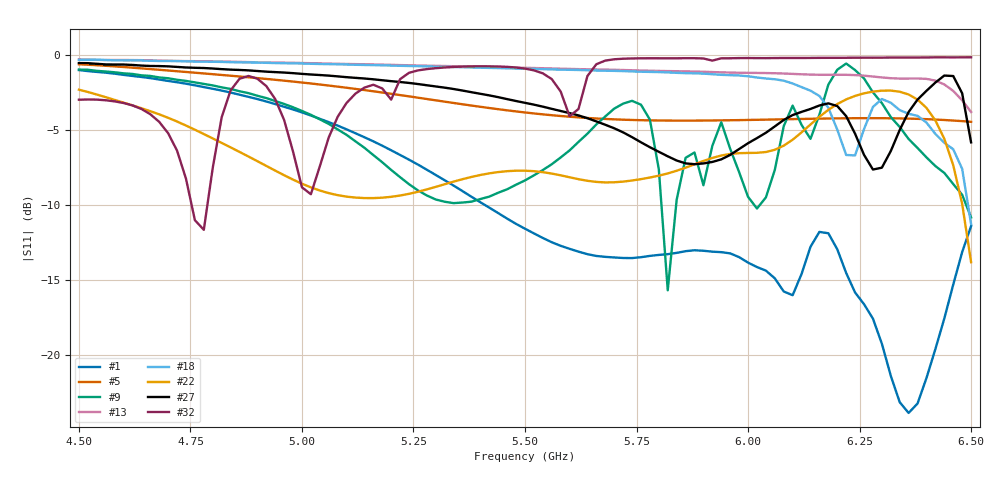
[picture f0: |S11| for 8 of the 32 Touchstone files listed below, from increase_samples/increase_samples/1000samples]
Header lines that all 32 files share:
! TOUCHSTONE file generated by CST MICROWAVE STUDIO
! Project name: L.cst
! Header version: 2018
! Port assignment regex: !\s*Touchstone port\s*([0-9]+)\s*=\s*(CST MWS port|CST DS port)\s*([0-9]+|Zmin|Zmax)\s*\(\"(.*)\"\)(\s*mode\s*([0-9]+))?.*
! Touchstone port assignment:
! Touchstone port 1 = CST MWS port 1 ("")
# GHz S DB R 50
Fixed: Di = 1.27, Epsilon_r = 1.56, InnerDiameter = 1.27, Length = 2, Lf = 10, Lg = 60, OuterConductorThickness = 0.2921, OuterDiameter = 3.6, Wf = 3, Wp = 41.2, de = 1.5, df = 6.8, g = 0.8, h = 2.34, hf = 1.524, w = 9.7
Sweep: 4.5 GHz to 6.5 GHz
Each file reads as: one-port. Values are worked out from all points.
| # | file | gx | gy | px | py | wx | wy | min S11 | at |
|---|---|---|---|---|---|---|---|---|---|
| 1 | S_1000samples1.s1p | 3.70232 | 3.15364 | 14.8359 | 8.20041 | 11.1336 | 5.04678 | -23.9 dB | 6.36 GHz |
| 2 | S_1000samples2.s1p | 1.68192 | 1.31927 | 11.962 | 13.6431 | 10.2801 | 12.3238 | -13.5 dB | 6.08 GHz |
| 3 | S_1000samples3.s1p | 1.57884 | 3.45605 | 14.8235 | 8.12408 | 13.2446 | 4.66803 | -26.6 dB | 5.32 GHz |
| 4 | S_1000samples4.s1p | 1.21712 | 1.83962 | 8.35428 | 10.4819 | 7.13717 | 8.64231 | -4.7 dB | 6.38 GHz |
| 5 | S_1000samples6.s1p | 3.17261 | 2.01672 | 11.6626 | 11.4711 | 8.49002 | 9.4544 | -4.5 dB | 6.5 GHz |
| 6 | S_1000samples7.s1p | 4.57875 | 1.08578 | 12.4573 | 11.4115 | 7.87857 | 10.3257 | -5.0 dB | 6.22 GHz |
| 7 | S_1000samples8.s1p | 4.77245 | 0.781033 | 10.4918 | 13.9101 | 5.7193 | 13.1291 | -21.9 dB | 5.22 GHz |
| 8 | S_1000samples9.s1p | 4.01684 | 3.82183 | 12.5153 | 11.9695 | 8.4985 | 8.14766 | -4.4 dB | 6.5 GHz |
| 9 | S_1000samples11.s1p | 4.42049 | 2.03409 | 14.0679 | 14.2978 | 9.64738 | 12.2637 | -15.7 dB | 5.82 GHz |
| 10 | S_1000samples12.s1p | 2.71189 | 0.930275 | 11.7915 | 12.5598 | 9.07957 | 11.6295 | -7.1 dB | 5.48 GHz |
| 11 | S_1000samples13.s1p | 2.49854 | 0.71807 | 12.7231 | 11.457 | 10.2245 | 10.7389 | -32.8 dB | 6.44 GHz |
| 12 | S_1000samples14.s1p | 1.60322 | 4.58025 | 9.87194 | 13.628 | 8.26872 | 9.04771 | -5.0 dB | 6.5 GHz |
| 13 | S_1000samples16.s1p | 3.05657 | 3.96938 | 8.34217 | 14.0557 | 5.2856 | 10.0864 | -3.8 dB | 6.5 GHz |
| 14 | S_1000samples17.s1p | 0.425121 | 2.59368 | 14.3628 | 11.6459 | 13.9377 | 9.05223 | -17.3 dB | 4.9 GHz |
| 15 | S_1000samples18.s1p | 3.32095 | 4.1244 | 13.3026 | 8.55783 | 9.98168 | 4.43343 | -10.5 dB | 6.5 GHz |
| 16 | S_1000samples19.s1p | 4.74422 | 1.73643 | 13.6549 | 11.3673 | 8.91071 | 9.63084 | -5.0 dB | 5.52 GHz |
| 17 | S_1000samples20.s1p | 2.63454 | 2.68583 | 11.2065 | 10.1842 | 8.57197 | 7.49839 | -5.2 dB | 6.5 GHz |
| 18 | S_1000samples22.s1p | 3.59002 | 3.86138 | 9.08217 | 14.6648 | 5.49215 | 10.8034 | -11.3 dB | 6.5 GHz |
| 19 | S_1000samples23.s1p | 0.734897 | 4.42263 | 9.79793 | 10.4966 | 9.06303 | 6.074 | -7.8 dB | 6.02 GHz |
| 20 | S_1000samples24.s1p | 1.30694 | 2.93487 | 8.60987 | 8.10588 | 7.30293 | 5.171 | -3.9 dB | 6.5 GHz |
| 21 | S_1000samples25.s1p | 4.36475 | 4.11619 | 14.0839 | 13.1431 | 9.71911 | 9.02692 | -9.4 dB | 6.5 GHz |
| 22 | S_1000samples28.s1p | 1.82336 | 0.651409 | 11.7261 | 11.4366 | 9.90279 | 10.7852 | -13.8 dB | 6.5 GHz |
| 23 | S_1000samples29.s1p | 4.26351 | 1.22769 | 9.3358 | 13.8477 | 5.0723 | 12.6201 | -19.5 dB | 5.52 GHz |
| 24 | S_1000samples30.s1p | 4.06569 | 3.84535 | 13.3386 | 13.2167 | 9.27289 | 9.37134 | -8.7 dB | 6.5 GHz |
| 25 | S_1000samples31.s1p | 4.08913 | 0.882969 | 12.2044 | 10.7093 | 8.11532 | 9.82633 | -5.0 dB | 6.32 GHz |
| 26 | S_1000samples33.s1p | 2.83662 | 4.0054 | 11.3046 | 12.0725 | 8.46797 | 8.06708 | -4.4 dB | 6.5 GHz |
| 27 | S_1000samples35.s1p | 3.07418 | 1.77726 | 10.0496 | 13.0913 | 6.97546 | 11.314 | -7.7 dB | 6.28 GHz |
| 28 | S_1000samples36.s1p | 0.447076 | 3.78761 | 12.3402 | 13.036 | 11.8932 | 9.24842 | -12.6 dB | 6.04 GHz |
| 29 | S_1000samples37.s1p | 1.69761 | 4.2354 | 14.6748 | 9.35696 | 12.9772 | 5.12157 | -28.9 dB | 5.54 GHz |
| 30 | S_1000samples38.s1p | 1.1108 | 2.252 | 11.8869 | 11.1642 | 10.7761 | 8.91221 | -15.9 dB | 5.22 GHz |
| 31 | S_1000samples39.s1p | 3.56998 | 2.36724 | 12.8504 | 11.5631 | 9.28041 | 9.19581 | -6.0 dB | 5.84 GHz |
| 32 | S_1000samples40.s1p | 0.615818 | 3.04157 | 14.8725 | 8.99888 | 14.2567 | 5.95731 | -11.7 dB | 4.78 GHz |
